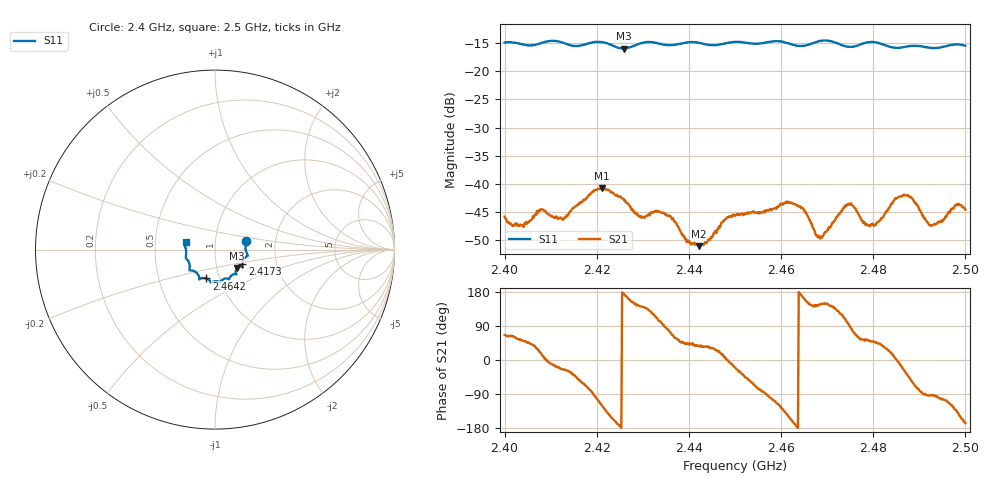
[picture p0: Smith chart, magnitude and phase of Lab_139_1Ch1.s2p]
# Hz S RI R
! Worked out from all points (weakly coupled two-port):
!   601 points, 2.4 GHz to 2.5 GHz, reference 50 ohm
!   highest |S21| = -40.83 dB at 2.4212 GHz (marker M1); lowest = -51.1 dB at 2.4422 GHz (marker M2)
!   lowest |S11| = -15.9 dB at 2.4258 GHz (marker M3), VSWR 1.38, Z = 62.2 - j13.3 ohm
!   |S11| at or under -10 dB: start of sweep to end of sweep
!   S12 and S22 are empty: the file has one direction only
!   S11 on the Smith chart (normalised r, x): 2.4 GHz: 1.41, +0.14; 2.4173 GHz: 1.34, -0.23; 2.4642 GHz: 0.86, -0.29; 2.5 GHz: 0.72, +0.06
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2.4e9  0.1738 0.0492  0.00206 0.00467  0 0  0 0
2.403667e9  0.1722 0.0282  0.00258 0.00341  0 0  0 0
2.408e9  0.1777 -0.0213  0.00574 0.00162  0 0  0 0
2.412833e9  0.1746 -0.0396  0.00448 -0.00207  0 0  0 0
2.416667e9  0.1528 -0.0747  0.00362 -0.00587  0 0  0 0
2.417333e9  0.1523 -0.0822  0.00311 -0.00644  0 0  0 0
2.421167e9  0.1543 -0.0963  -0.00471 -0.00777  0 0  0 0
2.425833e9  0.1209 -0.1039  -0.00732 0.000672  0 0  0 0
2.4295e9  0.1168 -0.1341  -0.00405 0.0032  0 0  0 0
2.433333e9  0.1127 -0.1366  -0.00151 0.0055  0 0  0 0
2.442167e9  0.0739 -0.1632  0.00223 0.00167  0 0  0 0
2.45e9  0.0293 -0.1807  0.00488 -0.00174  0 0  0 0
2.464167e9  -0.0482 -0.161  -0.00626 0.000596  0 0  0 0
2.466667e9  -0.0763 -0.1594  -0.00358 0.00255  0 0  0 0
2.4685e9  -0.0865 -0.1652  -0.00271 0.0018  0 0  0 0
2.4745e9  -0.1017 -0.1307  -0.000811 0.00656  0 0  0 0
2.478833e9  -0.1399 -0.1157  0.00256 0.00341  0 0  0 0
2.483333e9  -0.1406 -0.0897  0.00546 0.00266  0 0  0 0
2.487667e9  -0.159 -0.0527  0.00568 -0.00544  0 0  0 0
2.492667e9  -0.1604 -0.0177  -0.000197 -0.00424  0 0  0 0
2.498167e9  -0.1706 0.0323  -0.00478 -0.00452  0 0  0 0
2.5e9  -0.1637 0.0417  -0.00573 -0.00136  0 0  0 0
